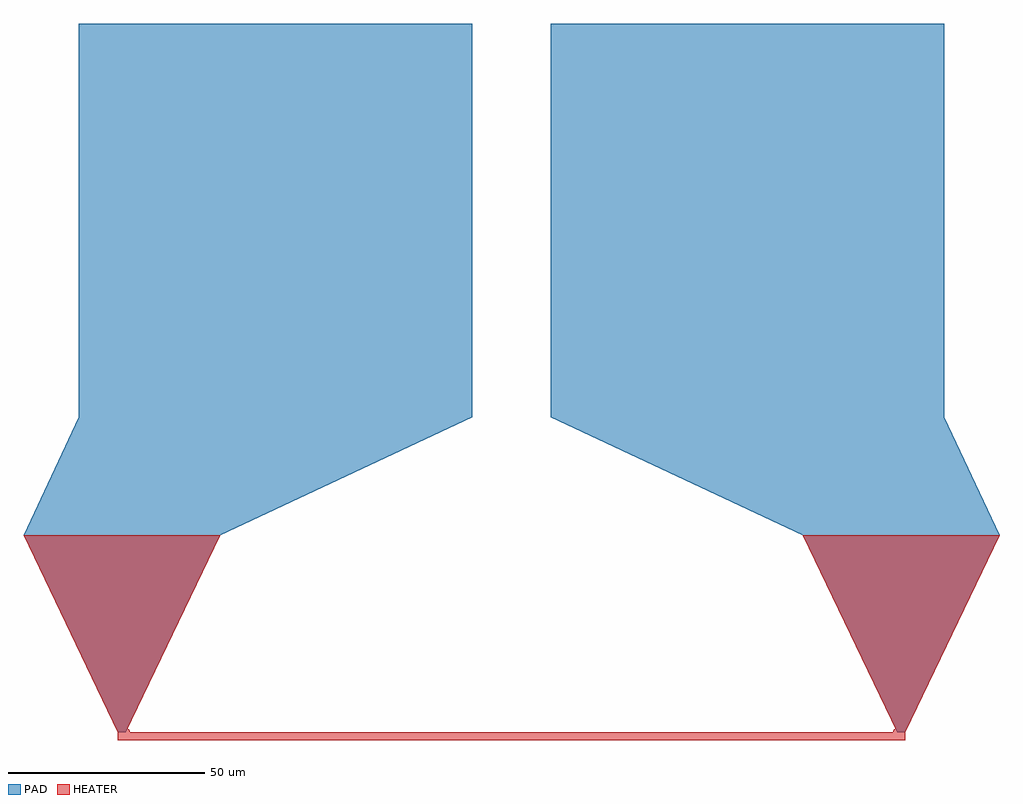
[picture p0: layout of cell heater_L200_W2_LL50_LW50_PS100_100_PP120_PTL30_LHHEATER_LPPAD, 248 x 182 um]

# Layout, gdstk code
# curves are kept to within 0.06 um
import gdstk
lib = gdstk.Library(unit=1e-6, precision=1e-09)
def R(c, l, rs):  # rectangles x0, y0, x1, y1
    for r in rs: c.add(gdstk.rectangle(r[:2], r[2:], *l))
def P(c, l, *ps):  # polygons
    for p in ps: c.add(gdstk.Polygon(p, *l))
HEATER = (39, 0)
PAD = (41, 0)

heater_l200_w2_ll50_lw50 = lib.new_cell('heater_L200_W2_LL50_LW50_PS100_100_PP120_PTL30_LHHEATER_LPPAD')
R(heater_l200_w2_ll50_lw50, HEATER, [(0,-1,200,1)])
P(heater_l200_w2_ll50_lw50, HEATER, [(0,1),(-24,51),(26,51),(2,1)],
  [(2,0),(1.617,0.076),(1.293,0.293),(1.076,0.617),(1,1),(1.076,1.383),(1.293,1.707),(1.617,1.924),(2,2),(2.383,1.924),(2.707,1.707),(2.924,1.383),(3,1),(2.924,0.617),(2.707,0.293),(2.383,0.076)],
  [(198,1),(174,51),(224,51),(200,1)],
  [(198,0),(197.617,0.076),(197.293,0.293),(197.076,0.617),(197,1),(197.076,1.383),(197.293,1.707),(197.617,1.924),(198,2),(198.383,1.924),(198.707,1.707),(198.924,1.383),(199,1),(198.924,0.617),(198.707,0.293),(198.383,0.076)])
R(heater_l200_w2_ll50_lw50, PAD, [(-10,81,90,181), (110,81,210,181)])
P(heater_l200_w2_ll50_lw50, PAD, [(0,1),(-24,51),(26,51),(2,1)],
  [(-24,51),(-10,81),(90,81),(26,51)],
  [(198,1),(174,51),(224,51),(200,1)],
  [(174,51),(110,81),(210,81),(224,51)])

lib.write_gds('heater_L200_W2_LL50_LW50_PS100_100_PP120_PTL30_LHHEATER_LPPAD.gds')
